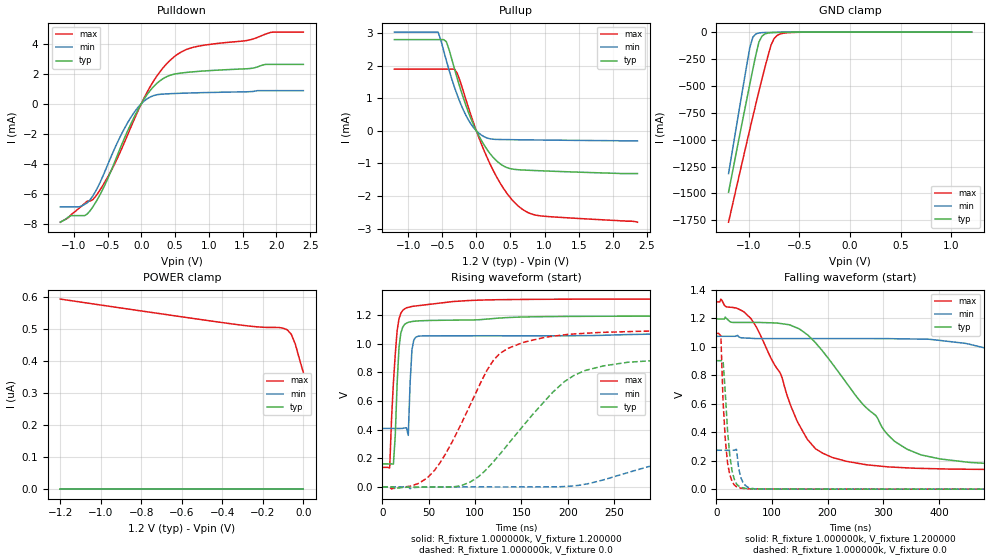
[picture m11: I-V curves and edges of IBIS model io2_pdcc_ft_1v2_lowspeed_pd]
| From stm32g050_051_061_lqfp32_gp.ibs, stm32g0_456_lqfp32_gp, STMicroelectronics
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|   Model io2_pdcc_ft_1v2_lowspeed_pd
[Model]  io2_pdcc_ft_1v2_lowspeed_pd
Model_type I/O
Polarity   Non-Inverting
Enable   Active-Low
Vinl =   0.360000V
Vinh =   0.840000V
Vmeas =  0.600000V
Cref =   30.000000pF
Rref =   100.000000M
Vref =   0.0V
C_comp   3.923200pF   3.103700pF   4.923200pF
[Temperature Range]   25.000000   -40.000000   0.125000k
[Pullup Reference]   1.200000V   1.080000V   1.320000V
[Pulldown Reference]   0.0V   0.0V   0.0V
[POWER Clamp Reference]   1.200000V   1.080000V   1.320000V
[GND Clamp Reference]   0.0V   0.0V   0.0V
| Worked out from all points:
|   slope of the pulldown table from 0 to 0.18 V, typ, clamps not added: 160 ohm
|   slope of the pullup table from 0 to 0.18 V, typ, clamps not added: 281 ohm
|   GND clamp passes 1 mA (typ) near -0.58 V on its own axis
|   rising waveform, R_fixture 1.000000k, V_fixture 1.200000: 20-80 % time 4.24ns typ, 2.84ns min, 6.45ns max; typ from 0.161 V to 1.19 V
|   rising waveform, R_fixture 1.000000k, V_fixture 0.0: 20-80 % time 73.4ns typ, 107ns min, 51.7ns max; typ from 0 V to 0.901 V
|   falling waveform, R_fixture 1.000000k, V_fixture 1.200000: 20-80 % time 125ns typ, 260ns min, 80.7ns max; typ from 1.19 V to 0.161 V
|   falling waveform, R_fixture 1.000000k, V_fixture 0.0: 20-80 % time 11ns typ, 9.08ns min, 9.43ns max; typ from 0.901 V to 0 V
[Pulldown]
|Voltage   I(typ)   I(min)   I(max)
-1.2V     -7.9mA     -6.879mA   -7.9mA
-920mV    -7.463mA   -6.879mA   -6.96mA
-720mV    -6.893mA   -6.163mA   -6.401mA
-440mV    -4.389mA   -3.449mA   -4.411mA
-120mV    -1.022mA   -674.6uA   -1.201mA
80mV      569.2uA    307.2uA    721.9uA
320mV     1.664mA    639.8uA    2.378mA
520mV     1.996mA    684uA      3.24mA
760mV     2.123mA    719uA      3.748mA
1.6V      2.341mA    798.9uA    4.245mA
1.92V     2.619mA    869.6uA    4.756mA
2.4V      2.619mA    869.6uA    4.773mA
[Pullup]
|Voltage   I(typ)   I(min)   I(max)
-1.2V     2.795mA    3.026mA    1.889mA
-560mV    2.795mA    3.026mA    1.889mA
-440mV    2.734mA    2.155mA    1.889mA
-320mV    1.896mA    1.332mA    1.889mA
-280mV    1.605mA    1.096mA    1.762mA
-160mV    820.1uA    504.5uA    1.006mA
0V        0A         0A         5nA
200mV     -697.7uA   -244.9uA   -1.014mA
400mV     -1.08mA    -267.8uA   -1.772mA
600mV     -1.19mA    -273.6uA   -2.279mA
840mV     -1.216mA   -279.5uA   -2.568mA
2.36V     -1.31mA    -310uA     -2.8mA
[GND_clamp]
|Voltage   I(typ)   I(min)   I(max)
-1.2V     -1.489A    -1.316A    -1.768A
-990mV    -483.9mA   -143.3mA   -905.1mA
-960mV    -345.5mA   -47.07mA   -785.1mA
-930mV    -210.2mA   -16.8mA    -666.5mA
-900mV    -91.91mA   -7.911mA   -550mA
-870mV    -37.66mA   -5.181mA   -436mA
-780mV    -5.842mA   -2.737mA   -119.5mA
-750mV    -4.316mA   -2.184mA   -59.88mA
-720mV    -3.389mA   -1.679mA   -31.04mA
-660mV    -2.131mA   -841.3uA   -10.47mA
-480mV    -203.8uA   -17.73uA   -1.431mA
1.2V      31.2uA     22.33uA    39.47uA
[POWER_clamp]
|Voltage   I(typ)   I(min)   I(max)
-1.2V     0A         0A         592.1nA
-600mV    0A         0A         536.8nA
-320mV    0A         0A         512.1nA
-220mV    0A         0A         505.2nA
-120mV    0A         0A         503.5nA
-100mV    0A         0A         501.6nA
-80mV     0A         0A         496.5nA
-60mV     0A         0A         482.9nA
-40mV     0A         0A         452.5nA
-20mV     0A         0A         407nA
0V        0A         0A         363nA
[Ramp]
| variable   typ   min   max
dV/dt_r  0.69876/29.11543n   0.60672/71.98953n   0.77363/26.42734n
dV/dt_f  0.70654/0.15396u   0.62605/0.23019u   0.77928/76.52655n
R_load = 10.000000k
[Rising Waveform]
R_fixture= 1.000000k
V_fixture= 1.200000
V_fixture_min= 1.080000
V_fixture_max= 1.320000
|time   V(typ)   V(min)   V(max)
0s        160.8mV    408.9mV    136.6mV
8.008ns   160.7mV    408.7mV    132.9mV
12.01ns   159mV      408.6mV    728.8mV
18.02ns   973.6mV    408.4mV    1.175V
22.02ns   1.117V     409.3mV    1.234V
28.03ns   1.151V     360.1mV    1.256V
30.03ns   1.154V     731.1mV    1.259V
32.03ns   1.156V     960.5mV    1.262V
44.04ns   1.162V     1.056V     1.271V
997ns     1.194V     1.073V     1.313V
[Rising Waveform]
R_fixture= 1.000000k
V_fixture= 0.0
V_fixture_min= 0.0
V_fixture_max= 0.0
|time   V(typ)   V(min)   V(max)
0s        35.3nV     40.11nV    16.5uV
48.05ns   -826.9uV   -946.6uV   60.88mV
68.07ns   -298.7uV   -388.4uV   229mV
96.1ns    38.86mV    -247.3uV   590.9mV
126.1ns   223.6mV    -447.3uV   928.7mV
176.2ns   607.4mV    365.2uV    1.047V
218.2ns   812.7mV    18.1mV     1.074V
302.3ns   887.3mV    164mV      1.09V
498.5ns   901.2mV    268.2mV    1.093V
997ns     901.5mV    272.9mV    1.093V
[Falling Waveform]
R_fixture= 1.000000k
V_fixture= 1.200000
V_fixture_min= 1.080000
V_fixture_max= 1.320000
|time   V(typ)   V(min)   V(max)
0s        1.194V     1.073V     1.313V
62.06ns   1.17V      1.059V     1.197V
116.1ns   1.162V     1.057V     802.5mV
162.2ns   1.087V     1.057V     357.9mV
208.2ns   881.1mV    1.057V     222.6mV
308.3ns   380.6mV    1.056V     156.4mV
368.4ns   239.7mV    1.053V     145.7mV
506.5ns   175.8mV    966.9mV    137.9mV
818.8ns   161.3mV    506.7mV    136.6mV
997ns     160.8mV    408.9mV    136.6mV
[Falling Waveform]
R_fixture= 1.000000k
V_fixture= 0.0
V_fixture_min= 0.0
V_fixture_max= 0.0
|time   V(typ)   V(min)   V(max)
0s        901.5mV    272.9mV    1.093V
8.008ns   901.5mV    272.9mV    1.076V
12.01ns   901.5mV    272.9mV    612.4mV
16.02ns   671.6mV    272.9mV    347.2mV
20.02ns   411.2mV    272.9mV    184.1mV
28.03ns   129.4mV    272.9mV    55.7mV
36.04ns   36.99mV    279.6mV    17.34mV
44.04ns   13.13mV    79.2mV     6.917mV
88.09ns   1.295mV    558.4uV    1.226mV
1.994us   35.3nV     40.11nV    16.5uV
